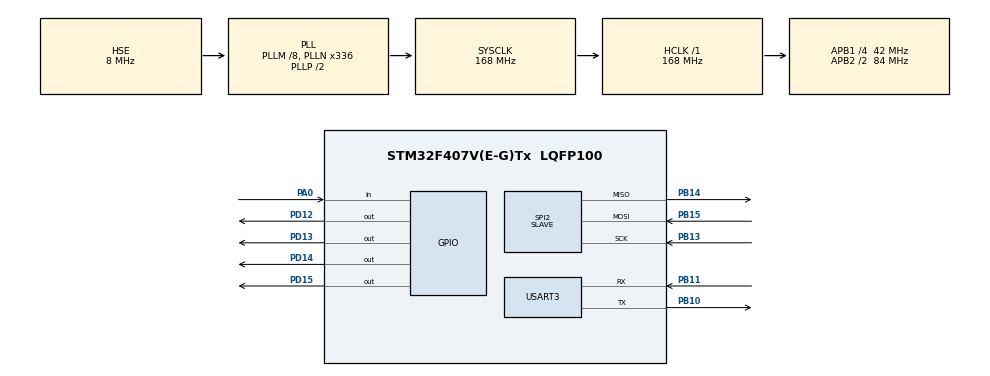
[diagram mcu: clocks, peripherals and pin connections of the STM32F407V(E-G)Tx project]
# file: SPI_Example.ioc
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Mcu.Family=STM32F4
Mcu.Name=STM32F407V(E-G)Tx
Mcu.Package=LQFP100
NVIC.PriorityGroup=NVIC_PRIORITYGROUP_0
NVIC.SPI2_IRQn=true\:0\:0\:false\:false\:true\:true\:true\:true
PA0-WKUP.Signal=GPIO_Input
PB10.GPIO_Speed=GPIO_SPEED_FREQ_HIGH
PB10.Mode=Asynchronous
PB10.Signal=USART3_TX
PB11.GPIO_Speed=GPIO_SPEED_FREQ_HIGH
PB11.Mode=Asynchronous
PB11.Signal=USART3_RX
PB13.GPIO_Speed=GPIO_SPEED_FREQ_HIGH
PB13.Mode=Full_Duplex_Slave
PB13.Signal=SPI2_SCK
PB14.GPIO_Speed=GPIO_SPEED_FREQ_HIGH
PB14.Mode=Full_Duplex_Slave
PB14.Signal=SPI2_MISO
PB15.GPIO_Speed=GPIO_SPEED_FREQ_HIGH
PB15.Mode=Full_Duplex_Slave
PB15.Signal=SPI2_MOSI
PC14-OSC32_IN.Mode=LSE-External-Oscillator
PC14-OSC32_IN.Signal=RCC_OSC32_IN
PC15-OSC32_OUT.Mode=LSE-External-Oscillator
PC15-OSC32_OUT.Signal=RCC_OSC32_OUT
PD12.Signal=GPIO_Output
PD13.Signal=GPIO_Output
PD14.Signal=GPIO_Output
PD15.Signal=GPIO_Output
PH0-OSC_IN.Mode=HSE-External-Oscillator
PH0-OSC_IN.Signal=RCC_OSC_IN
PH1-OSC_OUT.Mode=HSE-External-Oscillator
PH1-OSC_OUT.Signal=RCC_OSC_OUT
ProjectManager.HeapSize=0x200
ProjectManager.StackSize=0x400
ProjectManager.TargetToolchain=STM32CubeIDE
RCC.48MHZClocksFreq_Value=48000000
RCC.AHBFreq_Value=168000000
RCC.APB1CLKDivider=RCC_HCLK_DIV4
RCC.APB1Freq_Value=42000000
RCC.APB1TimFreq_Value=84000000
RCC.APB2CLKDivider=RCC_HCLK_DIV2
RCC.APB2Freq_Value=84000000
RCC.APB2TimFreq_Value=168000000
RCC.CortexFreq_Value=168000000
RCC.HCLKFreq_Value=168000000
RCC.HSE_VALUE=8000000
RCC.HSI_VALUE=16000000
RCC.PLLM=8
RCC.PLLN=336
RCC.PLLQ=7
RCC.PLLSourceVirtual=RCC_PLLSOURCE_HSE
RCC.SYSCLKFreq_VALUE=168000000
RCC.SYSCLKSource=RCC_SYSCLKSOURCE_PLLCLK
RCC.VCOOutputFreq_Value=336000000
SPI2.Direction=SPI_DIRECTION_2LINES
SPI2.Mode=SPI_MODE_SLAVE
SPI2.VirtualType=VM_SLAVE
USART3.VirtualMode=VM_ASYNC
board=STM32F407G-DISC1

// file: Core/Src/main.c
/* USER CODE BEGIN Header */
/**
  ******************************************************************************
  * @file           : main.c
  * @brief          : Main program body
  ******************************************************************************
  * @attention
  *
  * Copyright (c) 2023 STMicroelectronics.
  * All rights reserved.
  *
  * This software is licensed under terms that can be found in the LICENSE file
  * in the root directory of this software component.
  * If no LICENSE file comes with this software, it is provided AS-IS.
  *
  ******************************************************************************
  */
/* USER CODE END Header */
#include "main.h"

/* USER CODE BEGIN Includes */
#include <stdio.h>
#include <string.h>
/* USER CODE END Includes */

SPI_HandleTypeDef hspi2;

UART_HandleTypeDef huart3;

void SystemClock_Config(void);
static void MX_GPIO_Init(void);
static void MX_SPI2_Init(void);
static void MX_USART3_UART_Init(void);

/* USER CODE BEGIN 0 */
uint8_t tx_data[20]="data transmit\r\n";
uint8_t rx_data[20];
uint16_t pin_status=0,flag=0;
/* USER CODE END 0 */

int main(void)
{

  /* MCU Configuration--------------------------------------------------------*/

  /* Reset of all peripherals, Initializes the Flash interface and the Systick. */
  HAL_Init();

  /* Configure the system clock */
  SystemClock_Config();

  /* Initialize all configured peripherals */
  MX_GPIO_Init();
  MX_SPI2_Init();
  MX_USART3_UART_Init();
  HAL_SPI_Receive_IT(&hspi2, rx_data, 15);
  HAL_Delay(500);

  /* Infinite loop */
  while (1)
  {

    /* USER CODE BEGIN 3 */
	  pin_status = HAL_GPIO_ReadPin(GPIOA, GPIO_PIN_0);
	  if(pin_status)
	  {
		  HAL_GPIO_WritePin(GPIOD, GPIO_PIN_12, SET);
		  HAL_SPI_Transmit(&hspi2, tx_data, 15, 500);
		  flag = 1;
	  }
	  else{
		  HAL_GPIO_WritePin(GPIOD, GPIO_PIN_12, RESET);
	  }
	  if(flag==1)
	  {
		  memset(rx_data,0,sizeof(rx_data));
		  HAL_SPI_Receive_IT(&hspi2, rx_data, 15);
		  flag = 0;
	  }
	  HAL_Delay(2000);

  }
  /* USER CODE END 3 */
}

void SystemClock_Config(void)
{
  RCC_OscInitTypeDef RCC_OscInitStruct = {0};
  RCC_ClkInitTypeDef RCC_ClkInitStruct = {0};

  /** Configure the main internal regulator output voltage
  */
  __HAL_RCC_PWR_CLK_ENABLE();
  __HAL_PWR_VOLTAGESCALING_CONFIG(PWR_REGULATOR_VOLTAGE_SCALE1);

  /** Initializes the RCC Oscillators according to the specified parameters
  * in the RCC_OscInitTypeDef structure.
  */
  RCC_OscInitStruct.OscillatorType = RCC_OSCILLATORTYPE_HSE;
  RCC_OscInitStruct.HSEState = RCC_HSE_ON;
  RCC_OscInitStruct.PLL.PLLState = RCC_PLL_ON;
  RCC_OscInitStruct.PLL.PLLSource = RCC_PLLSOURCE_HSE;
  RCC_OscInitStruct.PLL.PLLM = 8;
  RCC_OscInitStruct.PLL.PLLN = 336;
  RCC_OscInitStruct.PLL.PLLP = RCC_PLLP_DIV2;
  RCC_OscInitStruct.PLL.PLLQ = 7;
  if (HAL_RCC_OscConfig(&RCC_OscInitStruct) != HAL_OK)
  {
    Error_Handler();
  }

  /** Initializes the CPU, AHB and APB buses clocks
  */
  RCC_ClkInitStruct.ClockType = RCC_CLOCKTYPE_HCLK|RCC_CLOCKTYPE_SYSCLK
                              |RCC_CLOCKTYPE_PCLK1|RCC_CLOCKTYPE_PCLK2;
  RCC_ClkInitStruct.SYSCLKSource = RCC_SYSCLKSOURCE_PLLCLK;
  RCC_ClkInitStruct.AHBCLKDivider = RCC_SYSCLK_DIV1;
  RCC_ClkInitStruct.APB1CLKDivider = RCC_HCLK_DIV4;
  RCC_ClkInitStruct.APB2CLKDivider = RCC_HCLK_DIV2;

  if (HAL_RCC_ClockConfig(&RCC_ClkInitStruct, FLASH_LATENCY_5) != HAL_OK)
  {
    Error_Handler();
  }
}

static void MX_SPI2_Init(void)
{

  /* SPI2 parameter configuration*/
  hspi2.Instance = SPI2;
  hspi2.Init.Mode = SPI_MODE_SLAVE;
  hspi2.Init.Direction = SPI_DIRECTION_2LINES;
  hspi2.Init.DataSize = SPI_DATASIZE_8BIT;
  hspi2.Init.CLKPolarity = SPI_POLARITY_LOW;
  hspi2.Init.CLKPhase = SPI_PHASE_1EDGE;
  hspi2.Init.NSS = SPI_NSS_SOFT;
  hspi2.Init.FirstBit = SPI_FIRSTBIT_MSB;
  hspi2.Init.TIMode = SPI_TIMODE_DISABLE;
  hspi2.Init.CRCCalculation = SPI_CRCCALCULATION_DISABLE;
  hspi2.Init.CRCPolynomial = 0;
  if (HAL_SPI_Init(&hspi2) != HAL_OK)
  {
    Error_Handler();
  }

}

static void MX_USART3_UART_Init(void)
{

  huart3.Instance = USART3;
  huart3.Init.BaudRate = 115200;
  huart3.Init.WordLength = UART_WORDLENGTH_8B;
  huart3.Init.StopBits = UART_STOPBITS_1;
  huart3.Init.Parity = UART_PARITY_NONE;
  huart3.Init.Mode = UART_MODE_TX_RX;
  huart3.Init.HwFlowCtl = UART_HWCONTROL_NONE;
  huart3.Init.OverSampling = UART_OVERSAMPLING_16;
  if (HAL_UART_Init(&huart3) != HAL_OK)
  {
    Error_Handler();
  }

}

static void MX_GPIO_Init(void)
{
  GPIO_InitTypeDef GPIO_InitStruct = {0};

  /* GPIO Ports Clock Enable */
  __HAL_RCC_GPIOC_CLK_ENABLE();
  __HAL_RCC_GPIOH_CLK_ENABLE();
  __HAL_RCC_GPIOA_CLK_ENABLE();
  __HAL_RCC_GPIOB_CLK_ENABLE();
  __HAL_RCC_GPIOD_CLK_ENABLE();

  /*Configure GPIO pin Output Level */
  HAL_GPIO_WritePin(GPIOD, GPIO_PIN_12|GPIO_PIN_13|GPIO_PIN_14|GPIO_PIN_15, GPIO_PIN_RESET);

  /*Configure GPIO pin : PA0 */
  GPIO_InitStruct.Pin = GPIO_PIN_0;
  GPIO_InitStruct.Mode = GPIO_MODE_INPUT;
  GPIO_InitStruct.Pull = GPIO_NOPULL;
  HAL_GPIO_Init(GPIOA, &GPIO_InitStruct);

  /*Configure GPIO pins : PD12 PD13 PD14 PD15 */
  GPIO_InitStruct.Pin = GPIO_PIN_12|GPIO_PIN_13|GPIO_PIN_14|GPIO_PIN_15;
  GPIO_InitStruct.Mode = GPIO_MODE_OUTPUT_PP;
  GPIO_InitStruct.Pull = GPIO_NOPULL;
  GPIO_InitStruct.Speed = GPIO_SPEED_FREQ_LOW;
  HAL_GPIO_Init(GPIOD, &GPIO_InitStruct);

}

/* USER CODE BEGIN 4 */
void HAL_SPI_RxCpltCallback(SPI_HandleTypeDef *hspi)
{
	HAL_GPIO_WritePin(GPIOD, GPIO_PIN_13, SET);
	flag = 1;
}
/* USER CODE END 4 */

void Error_Handler(void)
{
  __disable_irq();
  while (1)
  {
  }
}
